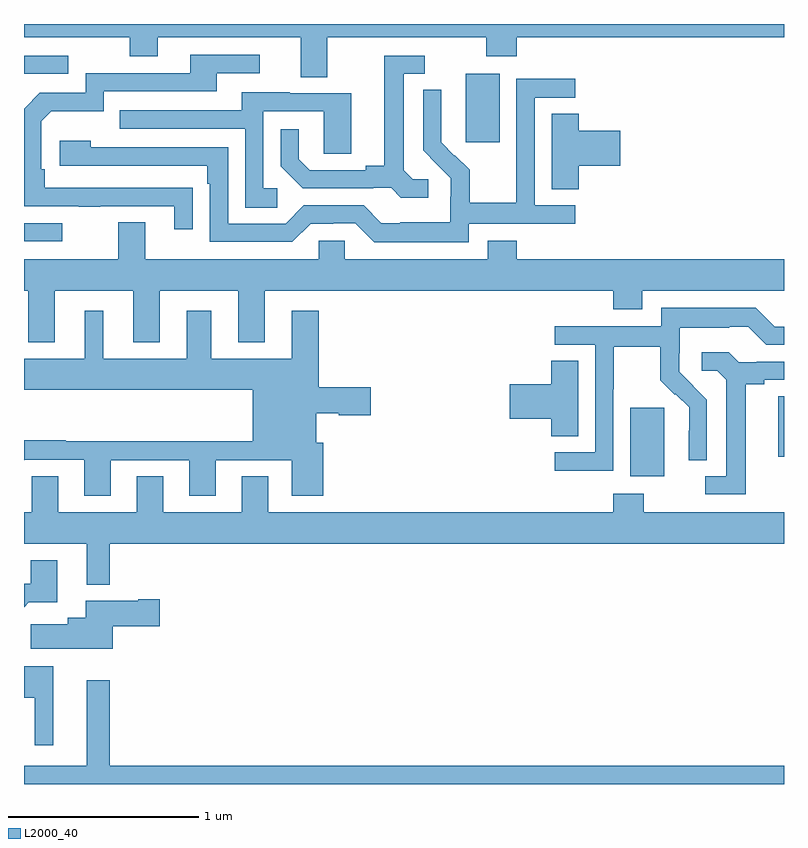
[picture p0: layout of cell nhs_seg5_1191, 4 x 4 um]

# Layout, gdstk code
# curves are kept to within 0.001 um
import gdstk
lib = gdstk.Library(unit=1e-6, precision=1e-09)
def R(c, l, rs):  # rectangles x0, y0, x1, y1
    for r in rs: c.add(gdstk.rectangle(r[:2], r[2:], *l))
def P(c, l, *ps):  # polygons
    for p in ps: c.add(gdstk.Polygon(p, *l))
L2000_40 = (2000, 40)

nhs_seg5_1191 = lib.new_cell('nhs_seg5_1191')
R(nhs_seg5_1191, L2000_40, [(186.191,886.418,186.37,886.779), (186.971,886.521,187,886.841), (183,887.655,183.202,887.751), (185.324,888.177,185.503,888.538), (183,888.537,183.232,888.633)])
P(nhs_seg5_1191, L2000_40, [(184.597,888.728),(185.434,888.728),(185.434,888.629),(185.594,888.629),(185.594,888.728),(187,888.728),(187,888.799),(183,888.799),(183,888.728),(183.556,888.728),(183.556,888.629),(183.703,888.629),(183.703,888.728),(184.457,888.728),(184.457,888.52),(184.597,888.52)],
  [(183.887,887.936),(183.11,887.937),(183.11,888.034),(183.09,888.034),(183.09,888.288),(183.143,888.341),(183.42,888.341),(183.42,888.444),(184.015,888.444),(184.015,888.54),(184.24,888.54),(184.24,888.636),(183.875,888.636),(183.875,888.54),(183.324,888.54),(183.324,888.438),(183.084,888.438),(183,888.354),(183,887.841),(183.289,887.841),(183.289,887.836),(183.401,887.836),(183.401,887.841),(183.791,887.841),(183.791,887.718),(183.887,887.718)],
  [(185.128,887.982),(185.046,887.982),(184.999,888.029),(184.999,888.537),(185.11,888.537),(185.11,888.633),(184.895,888.633),(184.895,888.053),(184.799,888.053),(184.799,888.03),(184.504,888.03),(184.447,888.087),(184.447,888.244),(184.35,888.244),(184.35,888.05),(184.466,887.934),(184.838,887.934),(184.838,887.937),(184.932,887.937),(184.984,887.885),(185.128,887.885)],
  [(185.34,887.748),(185.902,887.748),(185.902,887.844),(185.688,887.844),(185.688,888.411),(185.902,888.411),(185.902,888.51),(185.592,888.51),(185.592,888.08),(185.59,888.08),(185.59,887.857),(185.345,887.857),(185.345,888.031),(185.268,888.108),(185.265,888.105),(185.195,888.176),(185.196,888.452),(185.1,888.452),(185.1,888.134),(185.246,887.986),(185.246,887.889),(185.244,887.889),(185.244,887.755),(184.981,887.755),(184.981,887.751),(184.881,887.751),(184.788,887.844),(184.473,887.844),(184.377,887.748),(184.074,887.748),(184.074,888.15),(183.35,888.15),(183.35,888.184),(183.189,888.184),(183.189,888.054),(183.965,888.054),(183.965,887.957),(183.978,887.957),(183.978,887.652),(184.413,887.652),(184.509,887.748),(184.628,887.748),(184.628,887.751),(184.743,887.751),(184.843,887.651),(185.34,887.651)],
  [(184.333,887.934),(184.26,887.934),(184.26,888.339),(184.578,888.339),(184.578,888.115),(184.723,888.115),(184.723,888.435),(184.399,888.435),(184.399,888.439),(184.145,888.439),(184.145,888.345),(183.505,888.345),(183.505,888.249),(184.164,888.249),(184.164,887.833),(184.333,887.833)],
  [(185.921,888.053),(186.139,888.053),(186.139,888.236),(185.921,888.236),(185.921,888.326),(185.777,888.326),(185.777,887.929),(185.921,887.929)],
  [(183.163,887.396),(183.575,887.396),(183.575,887.123),(183.715,887.123),(183.715,887.396),(184.127,887.396),(184.127,887.123),(184.267,887.123),(184.267,887.396),(186.101,887.396),(186.101,887.297),(186.253,887.297),(186.253,887.396),(187,887.396),(187,887.56),(185.594,887.56),(185.594,887.659),(185.441,887.659),(185.441,887.56),(184.689,887.56),(184.689,887.658),(184.551,887.658),(184.551,887.56),(183.637,887.56),(183.637,887.755),(183.497,887.755),(183.497,887.56),(183,887.56),(183,887.396),(183.023,887.396),(183.023,887.123),(183.163,887.123)],
  [(186.102,886.876),(186.105,886.876),(186.105,887.1),(186.349,887.1),(186.349,886.925),(186.426,886.848),(186.429,886.851),(186.5,886.781),(186.5,886.658),(186.498,886.658),(186.498,886.504),(186.594,886.504),(186.594,886.822),(186.448,886.97),(186.448,887.067),(186.45,887.067),(186.45,887.201),(186.713,887.201),(186.713,887.205),(186.813,887.205),(186.906,887.112),(187,887.112),(187,887.205),(186.951,887.205),(186.851,887.305),(186.354,887.305),(186.354,887.208),(185.793,887.208),(185.793,887.112),(186.006,887.112),(186.006,886.545),(185.793,886.545),(185.793,886.447),(186.102,886.447)],
  [(183.457,886.503),(183.869,886.503),(183.869,886.317),(184.009,886.317),(184.009,886.503),(184.409,886.503),(184.409,886.317),(184.574,886.317),(184.574,886.596),(184.537,886.596),(184.537,886.751),(184.657,886.751),(184.657,886.739),(184.825,886.739),(184.825,886.886),(184.55,886.886),(184.55,887.29),(184.409,887.29),(184.409,887.038),(183.985,887.038),(183.985,887.29),(183.857,887.29),(183.857,887.038),(183.418,887.038),(183.418,887.29),(183.32,887.29),(183.32,887.038),(183,887.038),(183,886.874),(184.205,886.874),(184.205,886.604),(183.221,886.604),(183.221,886.607),(183,886.607),(183,886.503),(183.003,886.506),(183.317,886.506),(183.317,886.317),(183.457,886.317)],
  [(186.799,886.904),(186.895,886.904),(186.895,886.926),(187,886.926),(187,887.022),(186.856,887.022),(186.856,887.019),(186.762,887.019),(186.71,887.071),(186.567,887.071),(186.567,886.974),(186.648,886.974),(186.695,886.927),(186.695,886.419),(186.585,886.419),(186.585,886.323),(186.799,886.323)],
  [(185.917,887.027),(185.774,887.027),(185.774,886.904),(185.556,886.904),(185.556,886.721),(185.774,886.721),(185.774,886.63),(185.917,886.63)],
  [(183.451,886.064),(187,886.064),(187,886.228),(186.261,886.228),(186.261,886.327),(186.101,886.327),(186.101,886.228),(184.285,886.228),(184.285,886.418),(184.145,886.418),(184.145,886.228),(183.733,886.228),(183.733,886.418),(183.593,886.418),(183.593,886.228),(183.181,886.228),(183.181,886.418),(183.042,886.418),(183.042,886.228),(183,886.228),(183,886.064),(183.329,886.064),(183.329,885.848),(183.451,885.848)],
  [(183.026,885.755),(183.175,885.755),(183.175,885.976),(183.035,885.976),(183.035,885.853),(183,885.853),(183,885.729)],
  [(183.466,885.629),(183.715,885.629),(183.715,885.771),(183.602,885.771),(183.602,885.763),(183.326,885.763),(183.326,885.673),(183.23,885.673),(183.23,885.641),(183.036,885.641),(183.036,885.512),(183.466,885.512)],
  [(183.154,885.418),(183,885.418),(183,885.254),(183.056,885.254),(183.056,885.003),(183.154,885.003)],
  [(183.451,885.346),(183.329,885.346),(183.329,884.896),(183,884.896),(183,884.799),(187,884.799),(187,884.896),(183.451,884.896)])

lib.write_gds('nhs_seg5_1191.gds')
